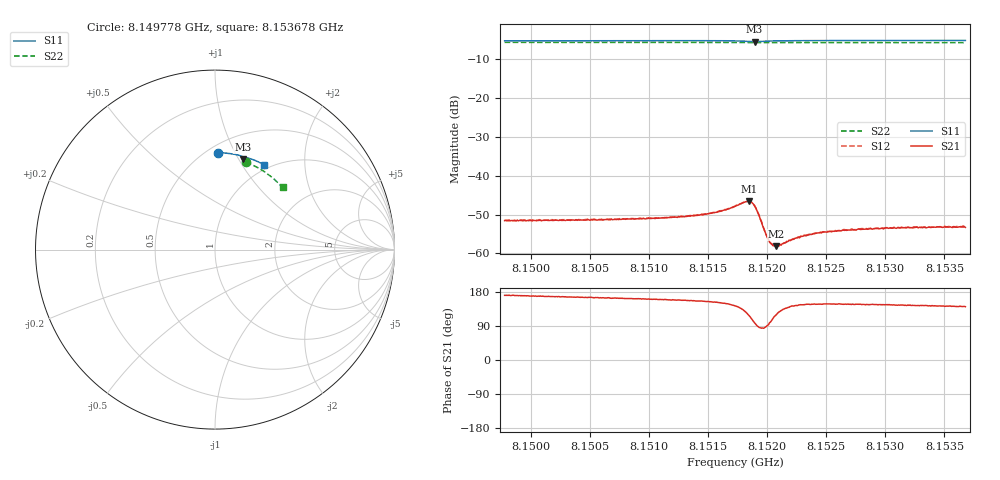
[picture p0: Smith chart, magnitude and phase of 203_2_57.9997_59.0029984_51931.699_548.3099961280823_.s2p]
#  HZ  S  RI  R  50.00
! Rohde & Schwarz Vector Network Analyzer
! Rohde-Schwarz,ZNB20-2Port,1311601062101988,3.16
! Created: UTC 3/21/2024, 12:59:19 AM
! freq[Hz]  re:S11  im:S11  re:S21  im:S21  re:S12  im:S12  re:S22  im:S22
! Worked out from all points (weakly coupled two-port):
!   401 points, 8.149778 GHz to 8.153678 GHz, reference 50 ohm
!   highest |S21| = -46.59 dB at 8.151845 GHz (marker M1); lowest = -58.1 dB at 8.152079 GHz (marker M2)
!   lowest |S11| = -5.6 dB at 8.151894 GHz (marker M3), VSWR 3.23, Z = 37.3 + j52 ohm
!   |S11| at or under -10 dB: nowhere
!   |S22| runs from -5.8 to -5.7 dB; largest |S21 - S12| = 0.00012
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8.1497781e9  0.0153 0.5396  -0.00261 0.000432  -0.00263 0.000477  0.1723 0.4863
8.1504314e9  0.0611 0.5376  -0.00261 0.000664  -0.00262 0.000744  0.2113 0.4701
8.1510847e9  0.1067 0.5313  -0.00267 0.001  -0.00267 0.00105  0.2486 0.4505
8.151465e9  0.134 0.5252  -0.00287 0.00136  -0.00289 0.00141  0.2697 0.4375
8.1515918e9  0.1436 0.5221  -0.00304 0.00166  -0.00307 0.00171  0.2765 0.4331
8.1517283e9  0.1544 0.5165  -0.00323 0.00243  -0.0032 0.00246  0.2836 0.4281
8.1518063e9  0.1595 0.5098  -0.00291 0.0035  -0.00289 0.00356  0.2876 0.4252
8.1518453e9  0.1591 0.5054  -0.00218 0.00414  -0.00211 0.00416  0.2896 0.4234
8.1518745e9  0.1567 0.5035  -0.00124 0.00428  -0.00118 0.00434  0.2909 0.4223
8.151894e9  0.1546 0.5035  -0.000564 0.00403  -0.000523 0.0041  0.2917 0.4218
8.151933e9  0.1525 0.5069  0.000218 0.00306  0.000252 0.00305  0.2937 0.4205
8.1519818e9  0.1551 0.5114  0.000121 0.00189  0.000216 0.00189  0.2963 0.4188
8.152011e9  0.1577 0.513  -7.56e-05 0.00151  -7.61e-05 0.00152  0.2978 0.4178
8.1520403e9  0.1607 0.5139  -0.00035 0.00126  -0.000347 0.00129  0.2995 0.4166
8.1520793e9  0.1644 0.5143  -0.000621 0.00107  -0.000622 0.00111  0.3013 0.4152
8.1521085e9  0.1671 0.5143  -0.000816 0.00103  -0.000791 0.00102  0.3031 0.4141
8.1521963e9  0.1744 0.5132  -0.00114 0.000922  -0.00112 0.000945  0.3074 0.4107
8.1522743e9  0.1805 0.5119  -0.00131 0.000904  -0.00132 0.000947  0.3115 0.4076
8.1523816e9  0.1885 0.5094  -0.00148 0.00096  -0.00147 0.00101  0.3168 0.4033
8.1526448e9  0.2066 0.5032  -0.00167 0.00109  -0.0017 0.0011  0.3297 0.3924
8.1530349e9  0.2322 0.4928  -0.00176 0.00118  -0.00173 0.00125  0.348 0.3756
8.1536784e9  0.2724 0.473  -0.00168 0.00137  -0.00172 0.00141  0.3763 0.346
